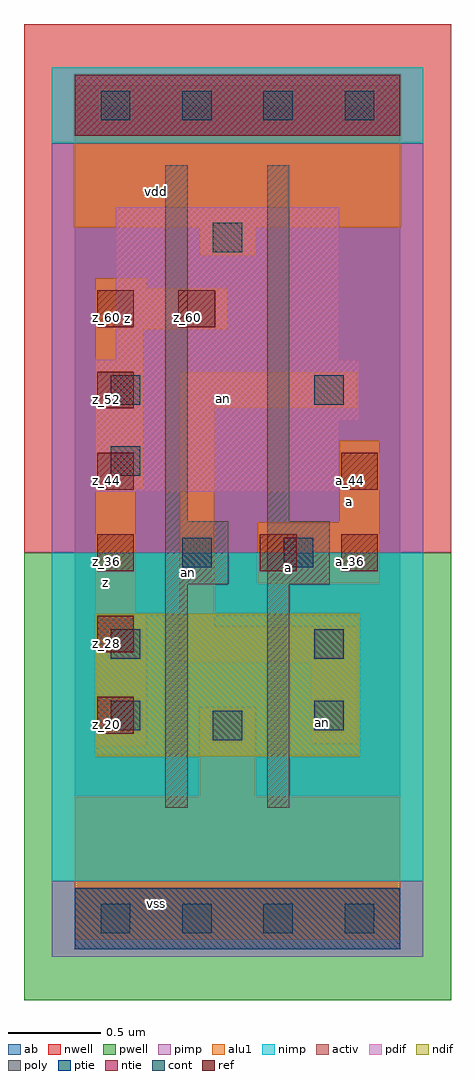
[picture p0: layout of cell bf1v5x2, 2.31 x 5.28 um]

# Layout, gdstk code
import gdstk
lib = gdstk.Library(unit=1e-6, precision=2.5e-09)
def R(c, l, rs):  # rectangles x0, y0, x1, y1
    for r in rs: c.add(gdstk.rectangle(r[:2], r[2:], *l))
def A(c, l, x, y, w, h, nx, ny, dx, dy):  # array of equal rectangles
    R(c, l, [(x+i*dx, y+j*dy, x+i*dx+w, y+j*dy+h) for i in range(nx) for j in range(ny)])
ndif = (3, 0)
pdif = (4, 0)
ntie = (5, 0)
ptie = (6, 0)
ref = (24, 0)
cont = (25, 0)
pwell = (41, 0)
nwell = (42, 0)
activ = (43, 0)
pimp = (44, 0)
nimp = (45, 0)
poly = (46, 0)
alu1 = (49, 0)
ab = (63, 0)

bf1v5x2 = lib.new_cell('bf1v5x2')
R(bf1v5x2, ndif, [(0.11,0.88,1.54,1.65)])
R(bf1v5x2, pdif, [(0.11,2.31,1.43,2.695), (0.11,2.695,1.54,3.025), (0.22,3.025,1.43,3.85)])
R(bf1v5x2, ntie, [(0,4.235,1.76,4.565)])
R(bf1v5x2, ptie, [(0,-0.165,1.76,0.165)])
A(bf1v5x2, ref, 0.12, 1, 0.2, 0.2, 1, 6, 0, 0.44)
R(bf1v5x2, ref, [(1,1.88,1.2,2.08), (1.44,1.88,1.64,2.08), (1.44,2.32,1.64,2.52), (0.56,3.2,0.76,3.4)])
A(bf1v5x2, cont, 0.14, -0.08, 0.16, 0.16, 4, 2, 0.44, 4.4)
R(bf1v5x2, cont, [(0.745,0.965,0.905,1.125), (0.195,1.02,0.355,1.18), (1.295,1.02,1.455,1.18), (0.195,1.405,0.355,1.565), (1.295,1.405,1.455,1.565), (0.58,1.9,0.74,2.06), (1.13,1.9,1.29,2.06), (0.195,2.395,0.355,2.555), (0.195,2.78,0.355,2.94), (1.295,2.78,1.455,2.94), (0.745,3.605,0.905,3.765)])
R(bf1v5x2, pwell, [(-0.275,-0.44,2.035,1.98)])
R(bf1v5x2, nwell, [(-0.275,1.98,2.035,4.84)])
R(bf1v5x2, activ, [(0,-0.165,1.76,0.165), (0.11,0.88,1.54,1.65), (0.11,2.31,1.43,2.695), (0.11,2.695,1.54,3.025), (0.22,3.025,1.43,3.85), (0,4.235,1.76,4.565)])
R(bf1v5x2, pimp, [(-0.125,-0.205,1.885,0.205), (-0.125,1.98,1.885,4.195)])
R(bf1v5x2, nimp, [(-0.125,0.205,1.885,1.98), (-0.125,4.195,1.885,4.605)])
R(bf1v5x2, poly, [(0.49,0.6,0.61,1.81), (1.04,0.6,1.16,1.81), (0.49,1.81,0.83,2.15), (1.04,1.81,1.38,2.15), (0.49,2.15,0.61,4.075), (1.04,2.15,1.16,4.075)])
R(bf1v5x2, alu1, [(0,-0.11,1.76,0.66), (0.675,0.66,0.975,1.14), (0.11,0.935,0.385,1.65), (1.28,0.95,1.525,1.39), (0.565,1.39,1.525,1.58), (0.565,1.58,0.755,2.765), (0.11,1.65,0.33,2.325), (0.99,1.815,1.65,2.145), (1.43,2.145,1.65,2.585), (0.11,2.325,0.37,3.19), (0.565,2.765,1.525,2.955), (0.11,3.19,0.825,3.41), (0.11,3.41,0.385,3.465), (0.675,3.59,0.975,3.74), (0,3.74,1.76,4.51)])
R(bf1v5x2, ab, [(0,0,1.76,4.4)])
bf1v5x2.add(gdstk.Label('vss', (0.44,0.0825), layer=49, texttype=0))
bf1v5x2.add(gdstk.Label('an', (1.34,1.06), layer=49, texttype=0))
bf1v5x2.add(gdstk.Label('a', (1.155,1.8975), layer=49, texttype=0))
bf1v5x2.add(gdstk.Label('a', (1.485,2.255), layer=49, texttype=0))
bf1v5x2.add(gdstk.Label('an', (0.6125,1.875), layer=49, texttype=0))
bf1v5x2.add(gdstk.Label('z', (0.165,1.8175), layer=49, texttype=0))
bf1v5x2.add(gdstk.Label('an', (0.805,2.8125), layer=49, texttype=0))
bf1v5x2.add(gdstk.Label('z', (0.2875,3.245), layer=49, texttype=0))
bf1v5x2.add(gdstk.Label('vdd', (0.44,3.9325), layer=49, texttype=0))
bf1v5x2.add(gdstk.Label('z_60', (0.61,3.25), layer=24, texttype=0))
bf1v5x2.add(gdstk.Label('a_36', (1.05,1.93), layer=24, texttype=0))
bf1v5x2.add(gdstk.Label('a_36', (1.49,1.93), layer=24, texttype=0))
bf1v5x2.add(gdstk.Label('a_44', (1.49,2.37), layer=24, texttype=0))
bf1v5x2.add(gdstk.Label('z_20', (0.17,1.05), layer=24, texttype=0))
bf1v5x2.add(gdstk.Label('z_28', (0.17,1.49), layer=24, texttype=0))
bf1v5x2.add(gdstk.Label('z_36', (0.17,1.93), layer=24, texttype=0))
bf1v5x2.add(gdstk.Label('z_44', (0.17,2.37), layer=24, texttype=0))
bf1v5x2.add(gdstk.Label('z_52', (0.17,2.81), layer=24, texttype=0))
bf1v5x2.add(gdstk.Label('z_60', (0.17,3.25), layer=24, texttype=0))

lib.write_gds('bf1v5x2.gds')
